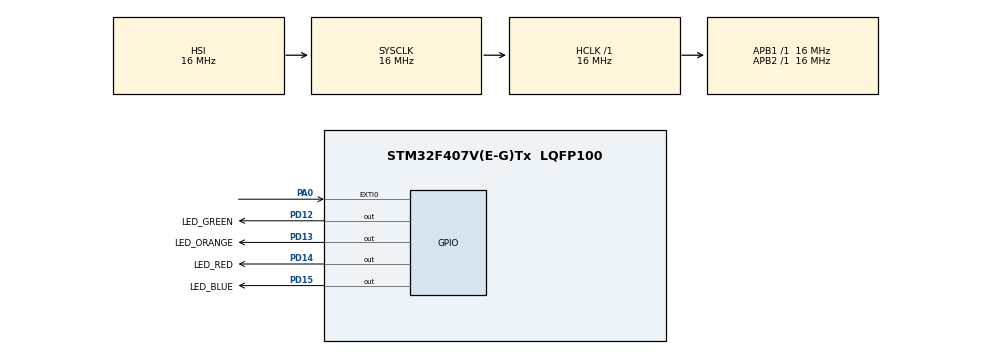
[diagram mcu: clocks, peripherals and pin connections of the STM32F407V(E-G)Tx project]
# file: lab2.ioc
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Mcu.Family=STM32F4
Mcu.Name=STM32F407V(E-G)Tx
Mcu.Package=LQFP100
NVIC.EXTI0_IRQn=true\:0\:0\:false\:false\:true\:true\:true\:true
NVIC.PriorityGroup=NVIC_PRIORITYGROUP_4
PA0-WKUP.GPIO_PuPd=GPIO_NOPULL
PA0-WKUP.Signal=GPXTI0
PD12.GPIO_Label=LED_GREEN
PD12.Signal=GPIO_Output
PD13.GPIO_Label=LED_ORANGE
PD13.Signal=GPIO_Output
PD14.GPIO_Label=LED_RED
PD14.Signal=GPIO_Output
PD15.GPIO_Label=LED_BLUE
PD15.Signal=GPIO_Output
ProjectManager.HeapSize=0x200
ProjectManager.StackSize=0x400
ProjectManager.TargetToolchain=STM32CubeIDE
RCC.AHBFreq_Value=16000000
RCC.APB1Freq_Value=16000000
RCC.APB2Freq_Value=16000000
RCC.CortexFreq_Value=16000000
RCC.HSE_VALUE=25000000
RCC.HSI_VALUE=16000000
RCC.LSE_VALUE=32768
RCC.SYSCLKFreq_VALUE=16000000
RCC.VCOOutputFreq_Value=192000000
board=custom

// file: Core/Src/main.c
/* USER CODE BEGIN Header */
/**
  ******************************************************************************
  * @file           : main.c
  * @brief          : Main program body
  ******************************************************************************
  * @attention
  *
  * Copyright (c) 2025 STMicroelectronics.
  * All rights reserved.
  *
  * This software is licensed under terms that can be found in the LICENSE file
  * in the root directory of this software component.
  * If no LICENSE file comes with this software, it is provided AS-IS.
  *
  ******************************************************************************
  */
/* USER CODE END Header */
#include "main.h"

/* USER CODE BEGIN PV */
void (*btnFunc)() = ledBinCount;

/* USER CODE END PV */

void SystemClock_Config(void);
static void MX_GPIO_Init(void);

/* USER CODE BEGIN 0 */
void setLEDs(unsigned mask, GPIO_PinState pinState){
  if(mask & GREEN){
    HAL_GPIO_WritePin(GPIOD, LED_GREEN_Pin, pinState);
  }
  if(mask & ORANGE){
    HAL_GPIO_WritePin(GPIOD, LED_ORANGE_Pin, pinState);
  }
  if(mask & RED){
    HAL_GPIO_WritePin(GPIOD, LED_RED_Pin, pinState);
  }
  if(mask & BLUE){
    HAL_GPIO_WritePin(GPIOD, LED_BLUE_Pin, pinState);
  }
}

void ledBinCount(){
  static unsigned ledMask = 0;
  ledMask++;

  setLEDs(ledMask, GPIO_PIN_SET);
  HAL_Delay(500);
  setLEDs(ledMask, GPIO_PIN_RESET);
  HAL_Delay(500);

  if(ledMask == (RED | BLUE | GREEN | ORANGE)){
    ledMask = 0;
  }

}

void ledSequential(){
  static unsigned led = 0;
  unsigned mask = 1<<led;

  setLEDs(mask, GPIO_PIN_SET);
  HAL_Delay(500);
  setLEDs(mask, GPIO_PIN_RESET);
  HAL_Delay(500);

  led++;
  if(led > 3) led = 0;
}

void ledSequentialInverted(){
  static unsigned led = 0;
  unsigned mask = 1<<led;

  setLEDs(~mask, GPIO_PIN_SET);
  HAL_Delay(500);
  setLEDs(~mask, GPIO_PIN_RESET);
  HAL_Delay(500);

  led++;
  if(led > 3) led = 0;
}

void ledPairs(){
  static unsigned led = 0;

  if(led == 0){
    setLEDs(RED | GREEN, GPIO_PIN_SET);
    HAL_Delay(500);
    setLEDs(RED | GREEN, GPIO_PIN_RESET);
    HAL_Delay(500);
  }
  else{
    setLEDs(BLUE | ORANGE, GPIO_PIN_SET);
    HAL_Delay(500);
    setLEDs(BLUE | ORANGE, GPIO_PIN_RESET);
    HAL_Delay(500);
  }

  led++;
  if(led > 1) led = 0;
}

/* USER CODE END 0 */

int main(void)
{

  /* MCU Configuration--------------------------------------------------------*/

  /* Reset of all peripherals, Initializes the Flash interface and the Systick. */
  HAL_Init();

  /* Configure the system clock */
  SystemClock_Config();

  /* Initialize all configured peripherals */
  MX_GPIO_Init();

  /* Infinite loop */
  /* USER CODE BEGIN WHILE */
  while (1)
  {
    btnFunc();
    /* USER CODE END WHILE */

  }
}

void SystemClock_Config(void)
{
  RCC_OscInitTypeDef RCC_OscInitStruct = {0};
  RCC_ClkInitTypeDef RCC_ClkInitStruct = {0};

  /** Configure the main internal regulator output voltage
  */
  __HAL_RCC_PWR_CLK_ENABLE();
  __HAL_PWR_VOLTAGESCALING_CONFIG(PWR_REGULATOR_VOLTAGE_SCALE1);

  /** Initializes the RCC Oscillators according to the specified parameters
  * in the RCC_OscInitTypeDef structure.
  */
  RCC_OscInitStruct.OscillatorType = RCC_OSCILLATORTYPE_HSI;
  RCC_OscInitStruct.HSIState = RCC_HSI_ON;
  RCC_OscInitStruct.HSICalibrationValue = RCC_HSICALIBRATION_DEFAULT;
  RCC_OscInitStruct.PLL.PLLState = RCC_PLL_NONE;
  if (HAL_RCC_OscConfig(&RCC_OscInitStruct) != HAL_OK)
  {
    Error_Handler();
  }

  /** Initializes the CPU, AHB and APB buses clocks
  */
  RCC_ClkInitStruct.ClockType = RCC_CLOCKTYPE_HCLK|RCC_CLOCKTYPE_SYSCLK
                              |RCC_CLOCKTYPE_PCLK1|RCC_CLOCKTYPE_PCLK2;
  RCC_ClkInitStruct.SYSCLKSource = RCC_SYSCLKSOURCE_HSI;
  RCC_ClkInitStruct.AHBCLKDivider = RCC_SYSCLK_DIV1;
  RCC_ClkInitStruct.APB1CLKDivider = RCC_HCLK_DIV1;
  RCC_ClkInitStruct.APB2CLKDivider = RCC_HCLK_DIV1;

  if (HAL_RCC_ClockConfig(&RCC_ClkInitStruct, FLASH_LATENCY_0) != HAL_OK)
  {
    Error_Handler();
  }
}

static void MX_GPIO_Init(void)
{
  GPIO_InitTypeDef GPIO_InitStruct = {0};

  /* GPIO Ports Clock Enable */
  __HAL_RCC_GPIOA_CLK_ENABLE();
  __HAL_RCC_GPIOD_CLK_ENABLE();

  /*Configure GPIO pin Output Level */
  HAL_GPIO_WritePin(GPIOD, LED_GREEN_Pin|LED_ORANGE_Pin|LED_RED_Pin|LED_BLUE_Pin, GPIO_PIN_RESET);

  /*Configure GPIO pin : PA0 */
  GPIO_InitStruct.Pin = GPIO_PIN_0;
  GPIO_InitStruct.Mode = GPIO_MODE_IT_RISING;
  GPIO_InitStruct.Pull = GPIO_NOPULL;
  HAL_GPIO_Init(GPIOA, &GPIO_InitStruct);

  /*Configure GPIO pins : LED_GREEN_Pin LED_ORANGE_Pin LED_RED_Pin LED_BLUE_Pin */
  GPIO_InitStruct.Pin = LED_GREEN_Pin|LED_ORANGE_Pin|LED_RED_Pin|LED_BLUE_Pin;
  GPIO_InitStruct.Mode = GPIO_MODE_OUTPUT_PP;
  GPIO_InitStruct.Pull = GPIO_NOPULL;
  GPIO_InitStruct.Speed = GPIO_SPEED_FREQ_LOW;
  HAL_GPIO_Init(GPIOD, &GPIO_InitStruct);

  /* EXTI interrupt init*/
  HAL_NVIC_SetPriority(EXTI0_IRQn, 0, 0);
  HAL_NVIC_EnableIRQ(EXTI0_IRQn);

}

void Error_Handler(void)
{
  __disable_irq();
  while (1)
  {
  }
}
